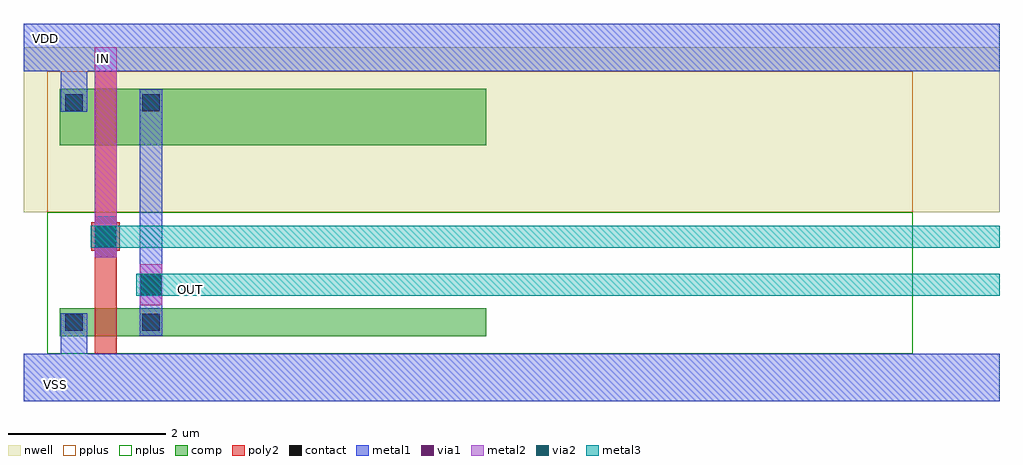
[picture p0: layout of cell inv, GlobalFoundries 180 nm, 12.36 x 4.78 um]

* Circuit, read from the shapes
.subckt inv IN OUT VDD VSS
XM1 OUT IN VSS VSUBS nfet_03v3 w=0.36u l=0.28u
XM2 OUT IN VDD n1 pfet_03v3 w=0.72u l=0.28u
.ends

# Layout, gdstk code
import gdstk
lib = gdstk.Library(unit=1e-6, precision=5e-09)
def R(c, l, rs):  # rectangles x0, y0, x1, y1
    for r in rs: c.add(gdstk.rectangle(r[:2], r[2:], *l))
nwell = (21, 0)
comp = (22, 0)
poly2 = (30, 0)
pplus = (31, 0)
nplus = (32, 0)
contact = (33, 0)
metal1 = (34, 0)
via1 = (35, 0)
metal2 = (36, 0)
via2 = (38, 0)
metal3 = (42, 0)

inv = lib.new_cell('inv')
R(inv, nwell, [(0,2.09,12.36,4.18)])
R(inv, comp, [(0.46,0.52,5.86,0.88), (0.46,2.94,5.86,3.66)])
R(inv, poly2, [(0.9,0.3,1.18,3.88), (0.86,1.605,1.22,1.965)])
R(inv, pplus, [(0.3,2.09,11.26,3.88)])
R(inv, nplus, [(0.3,0.3,11.26,2.09)])
R(inv, contact, [(0.53,0.59,0.75,0.81), (1.505,0.59,1.725,0.81), (0.93,1.675,1.15,1.895), (0.53,3.37,0.75,3.59), (1.505,3.37,1.725,3.59)])
R(inv, metal1, [(0,-0.3,12.36,0.3), (0.47,0.3,0.81,0.815), (1.475,0.53,1.755,3.65), (0.9,1.525,1.18,2.045), (0.47,3.365,0.81,3.88), (0,3.88,12.36,4.48)])
R(inv, via1, [(1.485,1.045,1.745,1.305), (0.91,1.655,1.17,1.915)])
R(inv, metal2, [(1.475,0.915,1.755,1.435), (0.9,1.525,1.18,4.18)])
R(inv, via2, [(1.485,1.045,1.745,1.305), (0.91,1.655,1.17,1.915)])
R(inv, metal3, [(1.425,1.035,12.36,1.315), (0.85,1.645,12.36,1.925)])
inv.add(gdstk.Label('VDD', (0.28,4.295), layer=34, texttype=10))
inv.add(gdstk.Label('VSS', (0.4,-0.085), layer=34, texttype=10))
inv.add(gdstk.Label('IN', (1.015,4.035), layer=36, texttype=10))
inv.add(gdstk.Label('OUT', (2.11,1.12), layer=42, texttype=10))

lib.write_gds('inv.gds')
